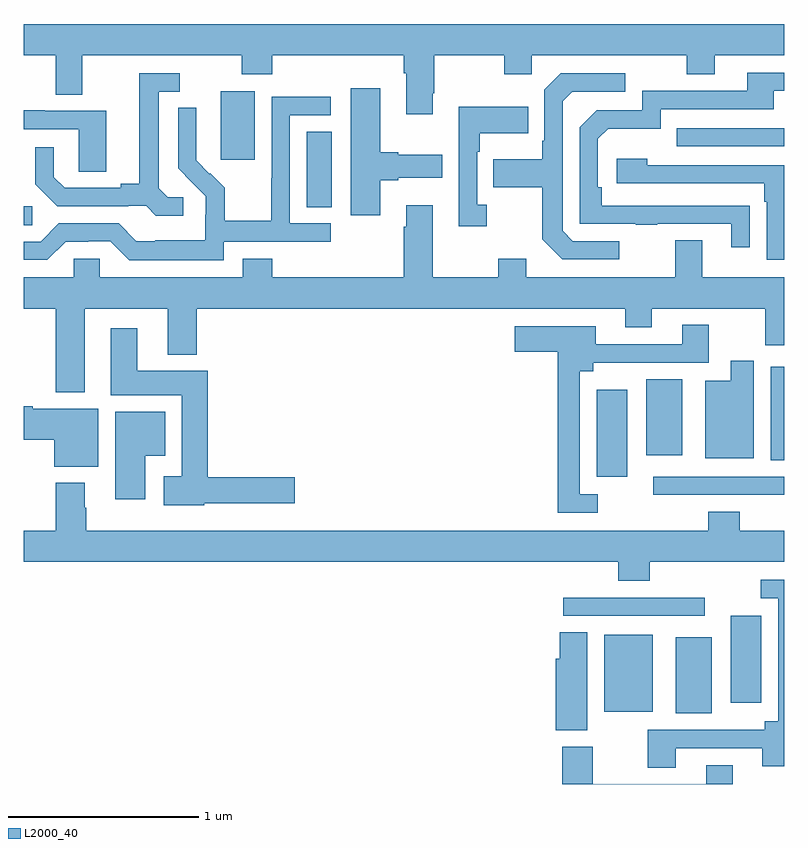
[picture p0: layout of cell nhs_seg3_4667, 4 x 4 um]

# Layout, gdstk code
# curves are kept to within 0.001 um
import gdstk
lib = gdstk.Library(unit=1e-6, precision=1e-09)
def R(c, l, rs):  # rectangles x0, y0, x1, y1
    for r in rs: c.add(gdstk.rectangle(r[:2], r[2:], *l))
def P(c, l, *ps):  # polygons
    for p in ps: c.add(gdstk.Polygon(p, *l))
L2000_40 = (2000, 40)

nhs_seg3_4667 = lib.new_cell('nhs_seg3_4667')
R(nhs_seg3_4667, L2000_40, [(364.43,714.773,364.618,715.171), (364.052,714.779,364.309,715.186), (364.718,714.828,364.879,715.285), (363.837,715.284,364.582,715.38), (364.311,715.92,365,716.016), (364.013,716.015,364.174,716.473), (364.928,716.101,365,716.593), (364.274,716.129,364.462,716.527), (361,717.337,361.045,717.438), (362.489,717.433,362.62,717.83), (362.036,717.681,362.215,718.042), (364.435,717.753,365,717.849)])
P(nhs_seg3_4667, L2000_40, [(363.151,718.033),(363.159,718.033),(363.159,718.232),(363.526,718.232),(363.526,718.133),(363.672,718.133),(363.672,718.232),(364.486,718.232),(364.486,718.133),(364.633,718.133),(364.633,718.232),(365,718.232),(365,718.396),(361,718.396),(361,718.232),(361.169,718.232),(361.169,718.024),(361.309,718.024),(361.309,718.232),(362.146,718.232),(362.146,718.133),(362.306,718.133),(362.306,718.232),(362.999,718.232),(362.999,718.136),(363.011,718.136),(363.011,717.921),(363.151,717.921)],
  [(364.817,717.44),(364.04,717.441),(364.04,717.538),(364.02,717.538),(364.02,717.792),(364.073,717.845),(364.35,717.845),(364.35,717.948),(364.945,717.948),(364.945,718.044),(365,718.044),(365,718.14),(364.805,718.14),(364.805,718.044),(364.254,718.044),(364.254,717.942),(364.014,717.942),(363.924,717.852),(363.924,717.345),(364.219,717.345),(364.219,717.34),(364.331,717.34),(364.331,717.345),(364.721,717.345),(364.721,717.222),(364.817,717.222)],
  [(364.132,717.255),(363.888,717.255),(363.834,717.309),(363.834,717.99),(363.885,718.041),(364.162,718.041),(364.162,718.137),(363.825,718.137),(363.738,718.05),(363.738,717.781),(363.726,717.781),(363.726,717.685),(363.469,717.685),(363.469,717.538),(363.726,717.538),(363.726,717.265),(363.831,717.159),(364.132,717.159)],
  [(361.84,717.486),(361.758,717.486),(361.711,717.533),(361.711,718.041),(361.822,718.041),(361.822,718.137),(361.607,718.137),(361.607,717.557),(361.511,717.557),(361.511,717.534),(361.216,717.534),(361.159,717.591),(361.159,717.748),(361.062,717.748),(361.062,717.554),(361.178,717.438),(361.55,717.438),(361.55,717.441),(361.644,717.441),(361.696,717.389),(361.84,717.389)],
  [(362.875,717.575),(362.971,717.575),(362.971,717.587),(363.202,717.587),(363.202,717.709),(362.971,717.709),(362.971,717.722),(362.875,717.722),(362.875,718.057),(362.72,718.057),(362.72,717.39),(362.875,717.39)],
  [(362.052,717.252),(362.614,717.252),(362.614,717.348),(362.4,717.348),(362.4,717.915),(362.614,717.915),(362.614,718.014),(362.304,718.014),(362.304,717.584),(362.302,717.584),(362.302,717.361),(362.057,717.361),(362.057,717.535),(361.98,717.612),(361.977,717.609),(361.907,717.68),(361.908,717.956),(361.812,717.956),(361.812,717.638),(361.958,717.49),(361.958,717.393),(361.956,717.393),(361.956,717.259),(361.693,717.259),(361.693,717.255),(361.593,717.255),(361.5,717.348),(361.185,717.348),(361.089,717.252),(361,717.252),(361,717.156),(361.125,717.156),(361.221,717.252),(361.34,717.252),(361.34,717.255),(361.455,717.255),(361.555,717.155),(362.052,717.155)],
  [(363.436,717.446),(363.384,717.446),(363.384,717.725),(363.397,717.725),(363.397,717.821),(363.653,717.821),(363.653,717.961),(363.288,717.961),(363.288,717.333),(363.436,717.333)],
  [(361.435,717.939),(361.111,717.939),(361.111,717.943),(361,717.943),(361,717.843),(361.29,717.843),(361.29,717.619),(361.435,717.619)],
  [(365,717.654),(364.28,717.654),(364.28,717.688),(364.119,717.688),(364.119,717.558),(364.895,717.558),(364.895,717.461),(364.908,717.461),(364.908,717.156),(365,717.156)],
  [(361.321,716.9),(361.757,716.9),(361.757,716.657),(361.91,716.657),(361.91,716.9),(364.163,716.9),(364.163,716.801),(364.303,716.801),(364.303,716.9),(364.9,716.9),(364.9,716.706),(365,716.706),(365,717.064),(364.567,717.064),(364.567,717.259),(364.427,717.259),(364.427,717.064),(363.643,717.064),(363.643,717.163),(363.496,717.163),(363.496,717.064),(363.151,717.064),(363.151,717.442),(363.011,717.442),(363.011,717.329),(362.999,717.329),(362.999,717.064),(362.306,717.064),(362.306,717.163),(362.153,717.163),(362.153,717.064),(361.401,717.064),(361.401,717.162),(361.263,717.162),(361.263,717.064),(361,717.064),(361,716.9),(361.169,716.9),(361.169,716.459),(361.321,716.459)],
  [(364.018,715.923),(363.924,715.923),(363.924,716.57),(363.994,716.57),(363.994,716.616),(364.603,716.616),(364.603,716.815),(364.463,716.815),(364.463,716.712),(364.009,716.712),(364.009,716.806),(363.582,716.806),(363.582,716.672),(363.808,716.672),(363.808,715.827),(364.018,715.827)],
  [(361.95,715.877),(362.425,715.877),(362.425,716.012),(361.967,716.012),(361.967,716.572),(361.597,716.572),(361.597,716.797),(361.457,716.797),(361.457,716.444),(361.832,716.444),(361.832,716.017),(361.737,716.017),(361.737,715.865),(361.95,715.865)],
  [(364.84,716.626),(364.718,716.626),(364.718,716.521),(364.583,716.521),(364.583,716.114),(364.84,716.114)],
  [(361.393,716.374),(361.048,716.374),(361.048,716.387),(361,716.387),(361,716.209),(361.16,716.209),(361.16,716.069),(361.393,716.069)],
  [(361.639,716.126),(361.744,716.126),(361.744,716.356),(361.481,716.356),(361.481,715.896),(361.639,715.896)],
  [(364.292,715.568),(365,715.568),(365,715.732),(364.766,715.732),(364.766,715.831),(364.601,715.831),(364.601,715.732),(361.329,715.732),(361.329,715.853),(361.321,715.853),(361.321,715.984),(361.169,715.984),(361.169,715.732),(361,715.732),(361,715.568),(364.127,715.568),(364.127,715.469),(364.292,715.469)],
  [(364.429,714.588),(364.883,714.588),(364.883,714.494),(365,714.494),(365,715.473),(364.875,715.473),(364.875,715.376),(364.968,715.376),(364.968,714.73),(364.898,714.73),(364.898,714.684),(364.282,714.684),(364.282,714.486),(364.429,714.486)],
  [(363.964,715.199),(363.818,715.199),(363.818,715.059),(363.797,715.059),(363.797,714.683),(363.964,714.683)],
  [(363.833,714.4),(364.729,714.4),(364.729,714.499),(364.589,714.499),(364.589,714.4),(363.993,714.4),(363.993,714.595),(363.833,714.595)])

lib.write_gds('nhs_seg3_4667.gds')
